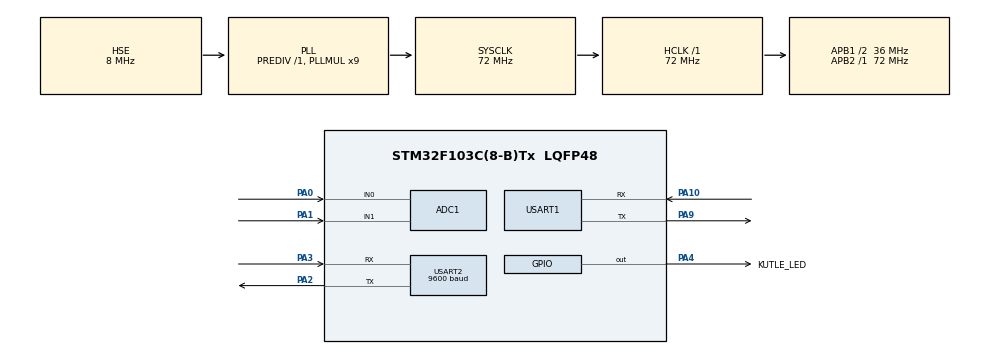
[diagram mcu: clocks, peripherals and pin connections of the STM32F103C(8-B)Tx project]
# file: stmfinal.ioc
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ADC1.Channel-8\#ChannelRegularConversion=ADC_CHANNEL_0
ADC1.Channel-9\#ChannelRegularConversion=ADC_CHANNEL_1
ADC1.ContinuousConvMode=ENABLE
ADC1.NbrOfConversion=2
ADC1.NbrOfConversionFlag=1
ADC1.Rank-8\#ChannelRegularConversion=1
ADC1.Rank-9\#ChannelRegularConversion=2
ADC1.SamplingTime-8\#ChannelRegularConversion=ADC_SAMPLETIME_239CYCLES_5
ADC1.SamplingTime-9\#ChannelRegularConversion=ADC_SAMPLETIME_239CYCLES_5
ADC1.master=1
Mcu.Family=STM32F1
Mcu.Name=STM32F103C(8-B)Tx
Mcu.Package=LQFP48
NVIC.PriorityGroup=NVIC_PRIORITYGROUP_4
PA0-WKUP.Signal=ADCx_IN0
PA1.Signal=ADCx_IN1
PA10.Mode=Asynchronous
PA10.Signal=USART1_RX
PA2.Mode=Asynchronous
PA2.Signal=USART2_TX
PA3.Mode=Asynchronous
PA3.Signal=USART2_RX
PA4.GPIO_Label=KUTLE_LED
PA4.Signal=GPIO_Output
PA9.Mode=Asynchronous
PA9.Signal=USART1_TX
PD0-OSC_IN.Mode=HSE-External-Oscillator
PD0-OSC_IN.Signal=RCC_OSC_IN
PD1-OSC_OUT.Mode=HSE-External-Oscillator
PD1-OSC_OUT.Signal=RCC_OSC_OUT
ProjectManager.HeapSize=0x200
ProjectManager.StackSize=0x400
ProjectManager.TargetToolchain=STM32CubeIDE
RCC.ADCPresc=RCC_ADCPCLK2_DIV6
RCC.AHBFreq_Value=72000000
RCC.APB1CLKDivider=RCC_HCLK_DIV2
RCC.APB1Freq_Value=36000000
RCC.APB1TimFreq_Value=72000000
RCC.APB2Freq_Value=72000000
RCC.APB2TimFreq_Value=72000000
RCC.HCLKFreq_Value=72000000
RCC.PLLMUL=RCC_PLL_MUL9
RCC.PLLSourceVirtual=RCC_PLLSOURCE_HSE
RCC.SYSCLKFreq_VALUE=72000000
RCC.SYSCLKSource=RCC_SYSCLKSOURCE_PLLCLK
RCC.USBFreq_Value=72000000
SH.ADCx_IN0.0=ADC1_IN0,IN0
SH.ADCx_IN1.0=ADC1_IN1,IN1
USART1.VirtualMode=VM_ASYNC
USART2.BaudRate=9600
USART2.VirtualMode=VM_ASYNC
VP_SYS_VS_ND.Mode=No_Debug
board=custom

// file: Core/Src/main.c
/* USER CODE BEGIN Header */
/**
  ******************************************************************************
  * @file           : main.c
  * @brief          : Main program body
  ******************************************************************************
  * @attention
  *
  * Copyright (c) 2026 STMicroelectronics.
  * All rights reserved.
  *
  * This software is licensed under terms that can be found in the LICENSE file
  * in the root directory of this software component.
  * If no LICENSE file comes with this software, it is provided AS-IS.
  *
  ******************************************************************************
  */
/* USER CODE END Header */
#include "main.h"

/* USER CODE BEGIN Includes */
#include <stdio.h>
#include <stdlib.h>
/* USER CODE END Includes */

ADC_HandleTypeDef hadc1;

UART_HandleTypeDef huart1;
UART_HandleTypeDef huart2;

/* USER CODE BEGIN PV */
uint32_t adc_sensor_1 = 0;
uint32_t adc_sensor_2 = 0;
uint32_t dorf_ortalama_adc = 0;
float hesaplanan_agirlik = 0.0;

float filtreli_agirlik = 0.0f;

uint32_t s1_offset = 0;
uint32_t s2_offset = 0;

typedef struct {
    uint32_t adc_val;
    float weight_kg;
} CalPoint;
/* USER CODE END PV */

void SystemClock_Config(void);
static void MX_GPIO_Init(void);
static void MX_ADC1_Init(void);
static void MX_USART1_UART_Init(void);
static void MX_USART2_UART_Init(void);
/* USER CODE BEGIN PFP */
void Nextion_Bitir(void);
void Nextion_Yazi_Gonder(char *obj, char *metin);
void Nextion_Grafik_Gonder(char *obj, uint8_t kanal, uint8_t deger);

void ADC_Cift_Kanal_Oku(uint32_t *ch0, uint32_t *ch1);
float Agirlik_Hesapla(uint32_t adc_val);
void Veri_Gonder_UART(uint32_t s1, uint32_t s2, uint32_t ort, float agirlik);
/* USER CODE END PFP */

int main(void)
{

  /* MCU Configuration--------------------------------------------------------*/

  /* Reset of all peripherals, Initializes the Flash interface and the Systick. */
  HAL_Init();

  /* Configure the system clock */
  SystemClock_Config();

  /* Initialize all configured peripherals */
  MX_GPIO_Init();
  MX_ADC1_Init();
  MX_USART1_UART_Init();
  MX_USART2_UART_Init();
  /* USER CODE BEGIN 2 */

    HAL_Delay(1000);

    uint64_t t1 = 0, t2 = 0;
    for(int i = 0; i < 50; i++) {
        uint32_t s1, s2;
        ADC_Cift_Kanal_Oku(&s1, &s2);
        t1 += s1;
        t2 += s2;
        HAL_Delay(5);
    }
    s1_offset = (uint32_t)(t1 / 50);
    s2_offset = (uint32_t)(t2 / 50);
  /* USER CODE END 2 */

  /* Infinite loop */
  /* USER CODE BEGIN WHILE */
  while (1)
  {
	      uint8_t rx_komut = 0;

	      if (HAL_UART_Receive(&huart2, &rx_komut, 1, 1) == HAL_OK)
	      {
	          if (rx_komut == 'T')
	          {
	              Nextion_Yazi_Gonder("t0", "---");

	              uint64_t t1_yeni = 0;
	              uint64_t t2_yeni = 0;

	              for(int i = 0; i < 50; i++) {
	                  uint32_t s1, s2;
	                  ADC_Cift_Kanal_Oku(&s1, &s2);
	                  t1_yeni += s1;
	                  t2_yeni += s2;
	                  HAL_Delay(5);
	              }

	              s1_offset = (uint32_t)(t1_yeni / 50);
	              s2_offset = (uint32_t)(t2_yeni / 50);

	              filtreli_agirlik = 0.0f;

	              Nextion_Yazi_Gonder("t0", "0.00 kg");
	          }
	      }
	          uint64_t s1_toplam = 0;
	          uint64_t s2_toplam = 0;

	          for(int i = 0; i < 32; i++) {
	              uint32_t s1_anlik, s2_anlik;
	              ADC_Cift_Kanal_Oku(&s1_anlik, &s2_anlik);
	              s1_toplam += s1_anlik;
	              s2_toplam += s2_anlik;
	              HAL_Delay(1);
	          }

	          adc_sensor_1 = (uint32_t)(s1_toplam / 32);
	          adc_sensor_2 = (uint32_t)(s2_toplam / 32);

	          int32_t s1_temiz = (int32_t)adc_sensor_1 - (int32_t)s1_offset;
	          int32_t s2_temiz = (int32_t)adc_sensor_2 - (int32_t)s2_offset;
	          dorf_ortalama_adc = (uint32_t)((abs(s1_temiz) + abs(s2_temiz)) / 2);

	          hesaplanan_agirlik = Agirlik_Hesapla(dorf_ortalama_adc);

	          float f_alpha = 0.25f;
	          filtreli_agirlik = (f_alpha * hesaplanan_agirlik) + ((1.0f - f_alpha) * filtreli_agirlik);

	          if (filtreli_agirlik >= 0.50f)
	          {
	              HAL_GPIO_WritePin(KUTLE_LED_GPIO_Port, KUTLE_LED_Pin, GPIO_PIN_SET);
	          }
	          else
	          {
	              HAL_GPIO_WritePin(KUTLE_LED_GPIO_Port, KUTLE_LED_Pin, GPIO_PIN_RESET);
	          }

	          char lcd_buffer[20];
	          sprintf(lcd_buffer, "%.2f kg", filtreli_agirlik);
	          Nextion_Yazi_Gonder("t0", lcd_buffer);

	          float grafik_max_kapasite_kg = 10.0f;
	          float olcekli_grafik = (filtreli_agirlik / grafik_max_kapasite_kg) * 255.0f;

	          if(olcekli_grafik > 255.0f) olcekli_grafik = 255.0f;
	          if(olcekli_grafik < 0.0f)   olcekli_grafik = 0.0f;

	          uint8_t grafik_degeri = (uint8_t)olcekli_grafik;
	          Nextion_Grafik_Gonder("2", 0, grafik_degeri);

	          Veri_Gonder_UART(adc_sensor_1, adc_sensor_2, dorf_ortalama_adc, filtreli_agirlik);

	          HAL_Delay(10);
    /* USER CODE END WHILE */

  }
}

void SystemClock_Config(void)
{
  RCC_OscInitTypeDef RCC_OscInitStruct = {0};
  RCC_ClkInitTypeDef RCC_ClkInitStruct = {0};
  RCC_PeriphCLKInitTypeDef PeriphClkInit = {0};

  /** Initializes the RCC Oscillators according to the specified parameters
  * in the RCC_OscInitTypeDef structure.
  */
  RCC_OscInitStruct.OscillatorType = RCC_OSCILLATORTYPE_HSE;
  RCC_OscInitStruct.HSEState = RCC_HSE_ON;
  RCC_OscInitStruct.HSEPredivValue = RCC_HSE_PREDIV_DIV1;
  RCC_OscInitStruct.HSIState = RCC_HSI_ON;
  RCC_OscInitStruct.PLL.PLLState = RCC_PLL_ON;
  RCC_OscInitStruct.PLL.PLLSource = RCC_PLLSOURCE_HSE;
  RCC_OscInitStruct.PLL.PLLMUL = RCC_PLL_MUL9;
  if (HAL_RCC_OscConfig(&RCC_OscInitStruct) != HAL_OK)
  {
    Error_Handler();
  }

  /** Initializes the CPU, AHB and APB buses clocks
  */
  RCC_ClkInitStruct.ClockType = RCC_CLOCKTYPE_HCLK|RCC_CLOCKTYPE_SYSCLK
                              |RCC_CLOCKTYPE_PCLK1|RCC_CLOCKTYPE_PCLK2;
  RCC_ClkInitStruct.SYSCLKSource = RCC_SYSCLKSOURCE_PLLCLK;
  RCC_ClkInitStruct.AHBCLKDivider = RCC_SYSCLK_DIV1;
  RCC_ClkInitStruct.APB1CLKDivider = RCC_HCLK_DIV2;
  RCC_ClkInitStruct.APB2CLKDivider = RCC_HCLK_DIV1;

  if (HAL_RCC_ClockConfig(&RCC_ClkInitStruct, FLASH_LATENCY_2) != HAL_OK)
  {
    Error_Handler();
  }
  PeriphClkInit.PeriphClockSelection = RCC_PERIPHCLK_ADC;
  PeriphClkInit.AdcClockSelection = RCC_ADCPCLK2_DIV6;
  if (HAL_RCCEx_PeriphCLKConfig(&PeriphClkInit) != HAL_OK)
  {
    Error_Handler();
  }
}

static void MX_ADC1_Init(void)
{

  ADC_ChannelConfTypeDef sConfig = {0};

  /** Common config
  */
  hadc1.Instance = ADC1;
  hadc1.Init.ScanConvMode = ADC_SCAN_ENABLE;
  hadc1.Init.ContinuousConvMode = ENABLE;
  hadc1.Init.DiscontinuousConvMode = DISABLE;
  hadc1.Init.ExternalTrigConv = ADC_SOFTWARE_START;
  hadc1.Init.DataAlign = ADC_DATAALIGN_RIGHT;
  hadc1.Init.NbrOfConversion = 2;
  if (HAL_ADC_Init(&hadc1) != HAL_OK)
  {
    Error_Handler();
  }

  /** Configure Regular Channel
  */
  sConfig.Channel = ADC_CHANNEL_0;
  sConfig.Rank = ADC_REGULAR_RANK_1;
  sConfig.SamplingTime = ADC_SAMPLETIME_239CYCLES_5;
  if (HAL_ADC_ConfigChannel(&hadc1, &sConfig) != HAL_OK)
  {
    Error_Handler();
  }

  /** Configure Regular Channel
  */
  sConfig.Channel = ADC_CHANNEL_1;
  sConfig.Rank = ADC_REGULAR_RANK_2;
  if (HAL_ADC_ConfigChannel(&hadc1, &sConfig) != HAL_OK)
  {
    Error_Handler();
  }

}

static void MX_USART1_UART_Init(void)
{

  huart1.Instance = USART1;
  huart1.Init.BaudRate = 115200;
  huart1.Init.WordLength = UART_WORDLENGTH_8B;
  huart1.Init.StopBits = UART_STOPBITS_1;
  huart1.Init.Parity = UART_PARITY_NONE;
  huart1.Init.Mode = UART_MODE_TX_RX;
  huart1.Init.HwFlowCtl = UART_HWCONTROL_NONE;
  huart1.Init.OverSampling = UART_OVERSAMPLING_16;
  if (HAL_UART_Init(&huart1) != HAL_OK)
  {
    Error_Handler();
  }

}

static void MX_USART2_UART_Init(void)
{

  huart2.Instance = USART2;
  huart2.Init.BaudRate = 9600;
  huart2.Init.WordLength = UART_WORDLENGTH_8B;
  huart2.Init.StopBits = UART_STOPBITS_1;
  huart2.Init.Parity = UART_PARITY_NONE;
  huart2.Init.Mode = UART_MODE_TX_RX;
  huart2.Init.HwFlowCtl = UART_HWCONTROL_NONE;
  huart2.Init.OverSampling = UART_OVERSAMPLING_16;
  if (HAL_UART_Init(&huart2) != HAL_OK)
  {
    Error_Handler();
  }

}

static void MX_GPIO_Init(void)
{
  GPIO_InitTypeDef GPIO_InitStruct = {0};

  /* GPIO Ports Clock Enable */
  __HAL_RCC_GPIOD_CLK_ENABLE();
  __HAL_RCC_GPIOA_CLK_ENABLE();

  /*Configure GPIO pin Output Level */
  HAL_GPIO_WritePin(KUTLE_LED_GPIO_Port, KUTLE_LED_Pin, GPIO_PIN_RESET);

  /*Configure GPIO pin : KUTLE_LED_Pin */
  GPIO_InitStruct.Pin = KUTLE_LED_Pin;
  GPIO_InitStruct.Mode = GPIO_MODE_OUTPUT_PP;
  GPIO_InitStruct.Pull = GPIO_NOPULL;
  GPIO_InitStruct.Speed = GPIO_SPEED_FREQ_LOW;
  HAL_GPIO_Init(KUTLE_LED_GPIO_Port, &GPIO_InitStruct);

}

/* USER CODE BEGIN 4 */
void Nextion_Bitir(void) {
    uint8_t bitis_kodu[3] = {0xFF, 0xFF, 0xFF};
    HAL_UART_Transmit(&huart2, bitis_kodu, 3, HAL_MAX_DELAY);
}

void Nextion_Yazi_Gonder(char *obj, char *metin) {
    char buffer[60];
    int len = sprintf(buffer, "%s.txt=\"%s\"", obj, metin);
    HAL_UART_Transmit(&huart2, (uint8_t*)buffer, len, HAL_MAX_DELAY);
    Nextion_Bitir();
}

void Nextion_Grafik_Gonder(char *obj, uint8_t kanal, uint8_t deger) {
    char buffer[50];
    int len = sprintf(buffer, "add %s,%d,%d", obj, kanal, deger);
    HAL_UART_Transmit(&huart2, (uint8_t*)buffer, len, HAL_MAX_DELAY);
    Nextion_Bitir();
}
void ADC_Cift_Kanal_Oku(uint32_t *ch0, uint32_t *ch1) {
    ADC_ChannelConfTypeDef sConfig = {0};

    hadc1.Init.ScanConvMode = DISABLE;
    hadc1.Init.NbrOfConversion = 1;
    HAL_ADC_Init(&hadc1);

    sConfig.Channel = ADC_CHANNEL_0;
    sConfig.Rank = ADC_REGULAR_RANK_1;
    sConfig.SamplingTime = ADC_SAMPLETIME_239CYCLES_5;
    HAL_ADC_ConfigChannel(&hadc1, &sConfig);

    HAL_ADC_Start(&hadc1);
    if (HAL_ADC_PollForConversion(&hadc1, 10) == HAL_OK) {
        *ch0 = HAL_ADC_GetValue(&hadc1);
    }
    HAL_ADC_Stop(&hadc1);

    sConfig.Channel = ADC_CHANNEL_1;
    sConfig.Rank = ADC_REGULAR_RANK_1;
    HAL_ADC_ConfigChannel(&hadc1, &sConfig);

    HAL_ADC_Start(&hadc1);
    if (HAL_ADC_PollForConversion(&hadc1, 10) == HAL_OK) {
        *ch1 = HAL_ADC_GetValue(&hadc1);
    }
    HAL_ADC_Stop(&hadc1);
}

float Agirlik_Hesapla(uint32_t adc) {
    if (adc <= 2) {
        return 0.00f;
    }

    if (adc >= 1187) {
        return 4.00f;
    }

    if (adc <= 128) {
        uint32_t lut_adc_low[] = {2, 3, 6, 7, 34, 40, 53, 67, 101, 119, 128};
        float lut_kg_low[]     = {0.0f, 0.1f, 0.2f, 0.3f, 0.4f, 0.5f, 0.6f, 0.7f, 0.8f, 0.9f, 1.0f};

        for (int i = 0; i < 10; i++) {
            if (adc >= lut_adc_low[i] && adc <= lut_adc_low[i+1]) {
                float oran = (float)(adc - lut_adc_low[i]) / (float)(lut_adc_low[i+1] - lut_adc_low[i]);
                return lut_kg_low[i] + oran * (lut_kg_low[i+1] - lut_kg_low[i]);
            }
        }
        return 1.00f;
    }

    else {
        float x = (float)adc;
        float hesaplanan = (1.64443979e-9f * x * x * x)
                         - (5.14022513e-6f * x * x)
                         + (7.01235379e-3f * x)
                         + 0.15727274f;

        if (hesaplanan < 0.0f)  return 0.0f;
        if (hesaplanan > 4.0f)  return 4.00f;
        return hesaplanan;
    }
}
void Veri_Gonder_UART(uint32_t s1, uint32_t s2, uint32_t ort, float agirlik) {
    char buffer[100];
    int len = sprintf(buffer, "S1: %lu , S2: %lu , AVG: %lu , kg: %.2f\r\n", s1, s2, ort, agirlik);
    HAL_UART_Transmit(&huart1, (uint8_t*)buffer, len, HAL_MAX_DELAY);
}
/* USER CODE END 4 */

void Error_Handler(void)
{
  __disable_irq();
  while (1)
  {
  }
}
